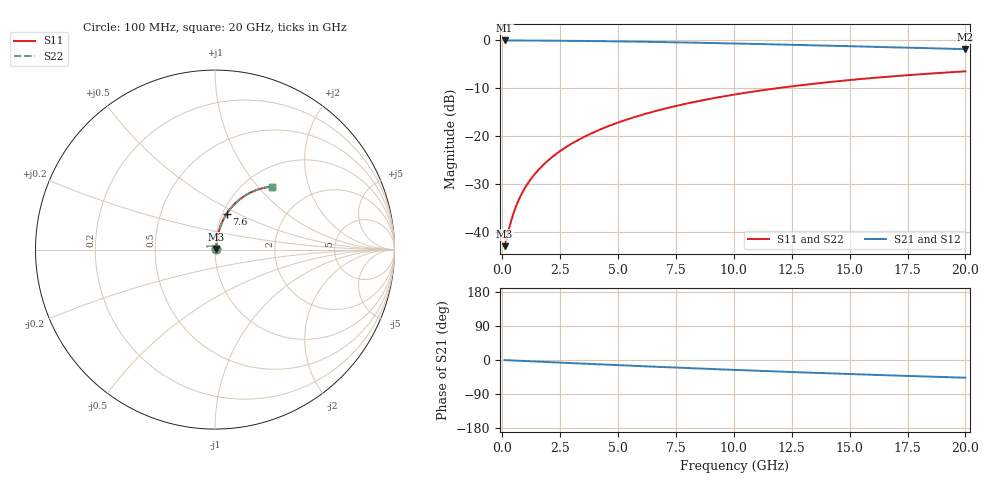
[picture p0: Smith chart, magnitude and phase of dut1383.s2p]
! Touchstone file exported from HFSS 2024.1.0
!  File:  C:/UserFiles/LocalFiles/RDL_TSV_Batchsim/temp_RDL_bottom_1383_1780371682.aedt
!  Generated:  11:43:59 AM Jun  2, 2026
!  Design:  RDL_bottom
!  Project:  temp_RDL_bottom_1383_1780371682
!  Setup:  Setup1
!  Solution:  Sweep
! Variables:
!  dtsv = 10.80580581um
!  hbump = 3um
!  htsv = 95.35um
!  ldown = 622.63um
!  lrdl = 100um
!  p = 40
!  p1 = 47.34um
!  rhole = 1um
!  t = 450um
!  tdown = 2.22um
!  trdl = 3.915915916um
!  wdown = 15.59um
!  wrdl = 20um
# GHz S MA R 50.000000
! Terminal data exported
! Port[1] = RDL1_T1
! Port[2] = RDL1_T2
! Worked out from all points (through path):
!   200 points, 100 MHz to 20 GHz, reference 50 ohm
!   highest |S21| = -0.06 dB at 100 MHz (marker M1); lowest = -1.9 dB at 20 GHz (marker M2)
!   group delay of S21, straight-line fit = 6.49 ps
!   lowest |S11| = -42.9 dB at 100 MHz (marker M3), VSWR 1.01, Z = 50.7 + j0.299 ohm
!   |S11| at or under -10 dB: start of sweep to 11.87 GHz
!   |S22| runs from -42.9 to -6.5 dB; largest |S21 - S12| = 2.2e-15
!   S11 on the Smith chart (normalised r, x): 100 MHz: 1.01, +0.01; 7.6 GHz: 1.05, +0.44; 20 GHz: 1.32, +1.19
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0.1  0.007169 24.3  0.9935 -0.3  0.9935 -0.3  0.007169 24.3
! Gamma 0 0 0 0
! Port Impedance 50 0 50 0
0.4  0.0136 59.1  0.993 -1.1  0.993 -1.1  0.0136 59.1
0.5  0.0162 63.5  0.9928 -1.4  0.9928 -1.4  0.0162 63.5
0.6  0.01884 66.7  0.9926 -1.7  0.9926 -1.7  0.01884 66.7
0.7  0.02151 69.0  0.9923 -2.0  0.9923 -2.0  0.02151 69.0
0.9  0.02685 72.1  0.9918 -2.5  0.9918 -2.5  0.02685 72.1
1.2  0.0349 74.9  0.991 -3.4  0.991 -3.4  0.0349 74.9
1.4  0.04028 76.0  0.9905 -3.9  0.9905 -3.9  0.04028 76.0
1.7  0.04839 77.2  0.9896 -4.7  0.9896 -4.7  0.04839 77.2
2.2  0.06198 78.2  0.9878 -6.1  0.9878 -6.1  0.06198 78.2
2.8  0.07837 78.5  0.9853 -7.7  0.9853 -7.7  0.07838 78.5
3.5  0.09759 78.2  0.9817 -9.6  0.9817 -9.6  0.09759 78.3
4.2  0.1168 77.6  0.9775 -11.5  0.9775 -11.5  0.1168 77.6
5  0.1388 76.5  0.9719 -13.6  0.9719 -13.6  0.1388 76.5
5.9  0.1634 75.1  0.9648 -15.9  0.9648 -15.9  0.1634 75.1
6.8  0.1878 73.5  0.9569 -18.2  0.9569 -18.2  0.1878 73.5
7.6  0.2092 72.0  0.9494 -20.2  0.9494 -20.2  0.2092 72.0
10.1  0.2736 67.0  0.9231 -26.3  0.9231 -26.3  0.2736 67.0
11.7  0.3123 63.7  0.9049 -29.9  0.9049 -29.9  0.3124 63.8
13.4  0.3508 60.3  0.8849 -33.7  0.8849 -33.7  0.3509 60.3
16.7  0.4176 53.8  0.8453 -40.5  0.8453 -40.5  0.4178 53.8
20  0.4737 47.8  0.8067 -46.7  0.8067 -46.7  0.4739 47.8
